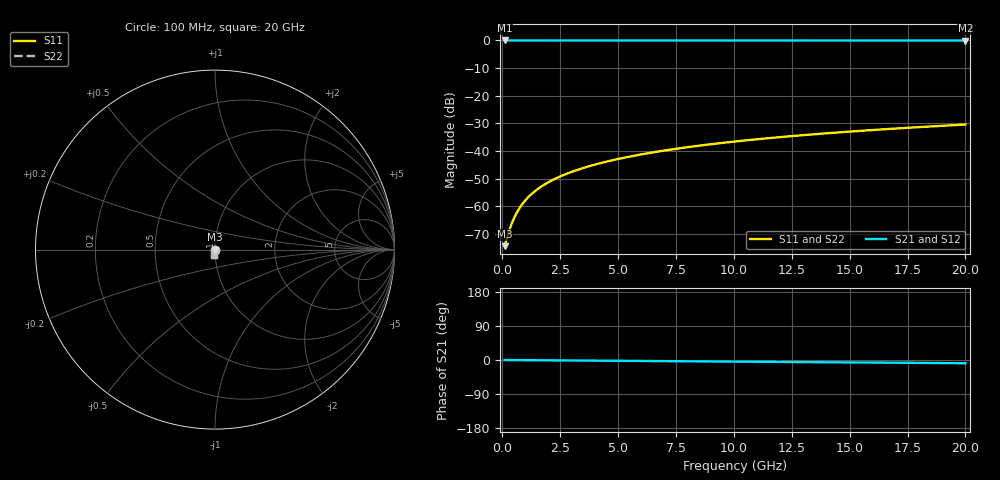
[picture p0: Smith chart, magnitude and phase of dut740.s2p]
! Touchstone file exported from HFSS 2026.1.0
!  File:  C:/ffzhzh/LocalFiles/Ansys_Project_Files/temp_train_TSV_740_1783182803_22436.aedt
!  Generated:  12:34:56 AM Jul  5, 2026
!  Design:  TSV
!  Project:  temp_train_TSV_740_1783182803_22436
! Variables:
!  h_bsmrdl = 2um
!  h_ox = 20um
!  h_rdl = 5um
!  h_sub = 88.19um
!  h_tmrdl = 5um
!  h_tsv = 88.19um
!  h_via = 3um
!  l_bsmrdl = 300um
!  l_sub = 418.36um
!  l_tmrdl = 200um
!  m_sub = 200um
!  pitch = 30.58um
!  r_tsv = 9.18um
!  s_tmrdl = 10um
!  w_bsmrdl = 18um
!  w_sub = 500um
!  w_tmrdl = 12um
!  x_tsv_center1 = 206um
!  x_tsv_center2 = 524um
!  x_tsv_center3 = 736um
!  x_tsv_center4 = 1054um
!  x_tsv_center5 = 1266um
!  x_tsv_center6 = 1584um
# GHz S MA R 50.000000
! Terminal data exported
! Port[1] = TSV1_1_T1
! Port[2] = TSV1_1_T2
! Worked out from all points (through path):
!   200 points, 100 MHz to 20 GHz, reference 50 ohm
!   highest |S21| = 0.00 dB at 100 MHz (marker M1); lowest = 0.0 dB at 20 GHz (marker M2)
!   group delay of S21, straight-line fit = 1.18 ps
!   lowest |S11| = -74.4 dB at 100 MHz (marker M3), VSWR 1.00, Z = 50 - j0.00969 ohm
!   |S11| at or under -10 dB: start of sweep to end of sweep
!   |S22| runs from -74.4 to -30.4 dB; largest |S21 - S12| = 3.2e-15
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0.1  0.0001909 -30.5  0.9998 -0.0  0.9998 -0.0  0.0001909 -30.5
! Gamma 0 0 0 0
! Port Impedance 50 0 50 0
0.3  0.000367 -56.3  0.9998 -0.1  0.9998 -0.1  0.000367 -56.3
0.4  0.0004804 -61.2  0.9998 -0.2  0.9998 -0.2  0.0004804 -61.2
0.5  0.0006036 -64.4  0.9997 -0.2  0.9997 -0.2  0.0006036 -64.4
0.6  0.0007341 -66.8  0.9997 -0.3  0.9997 -0.3  0.0007341 -66.8
0.7  0.0008697 -68.7  0.9997 -0.3  0.9997 -0.3  0.0008697 -68.7
0.9  0.00115 -71.7  0.9996 -0.4  0.9996 -0.4  0.00115 -71.7
1.2  0.001583 -74.9  0.9996 -0.5  0.9996 -0.5  0.001583 -74.9
1.4  0.001874 -76.5  0.9995 -0.6  0.9995 -0.6  0.001874 -76.5
1.6  0.002165 -77.8  0.9995 -0.7  0.9995 -0.7  0.002165 -77.8
2.1  0.002895 -80.2  0.9995 -0.9  0.9995 -0.9  0.002895 -80.2
2.7  0.003774 -82.1  0.9994 -1.2  0.9994 -1.2  0.003774 -82.1
3.5  0.004954 -83.7  0.9993 -1.5  0.9993 -1.5  0.004954 -83.7
4.2  0.005996 -84.8  0.9992 -1.8  0.9992 -1.8  0.005996 -84.8
5  0.007195 -85.7  0.9992 -2.1  0.9992 -2.1  0.007195 -85.7
5.9  0.008555 -86.6  0.9991 -2.5  0.9991 -2.5  0.008555 -86.6
6.8  0.009923 -87.4  0.999 -2.9  0.999 -2.9  0.009923 -87.4
8.3  0.01221 -88.6  0.9989 -3.5  0.9989 -3.5  0.01221 -88.6
10.1  0.01497 -89.9  0.9987 -4.3  0.9987 -4.3  0.01497 -89.9
13.4  0.02004 -91.9  0.9985 -5.7  0.9985 -5.7  0.02004 -91.9
16.7  0.02512 -93.7  0.9982 -7.1  0.9982 -7.1  0.02512 -93.7
20  0.03021 -95.4  0.9979 -8.5  0.9979 -8.5  0.03021 -95.4
